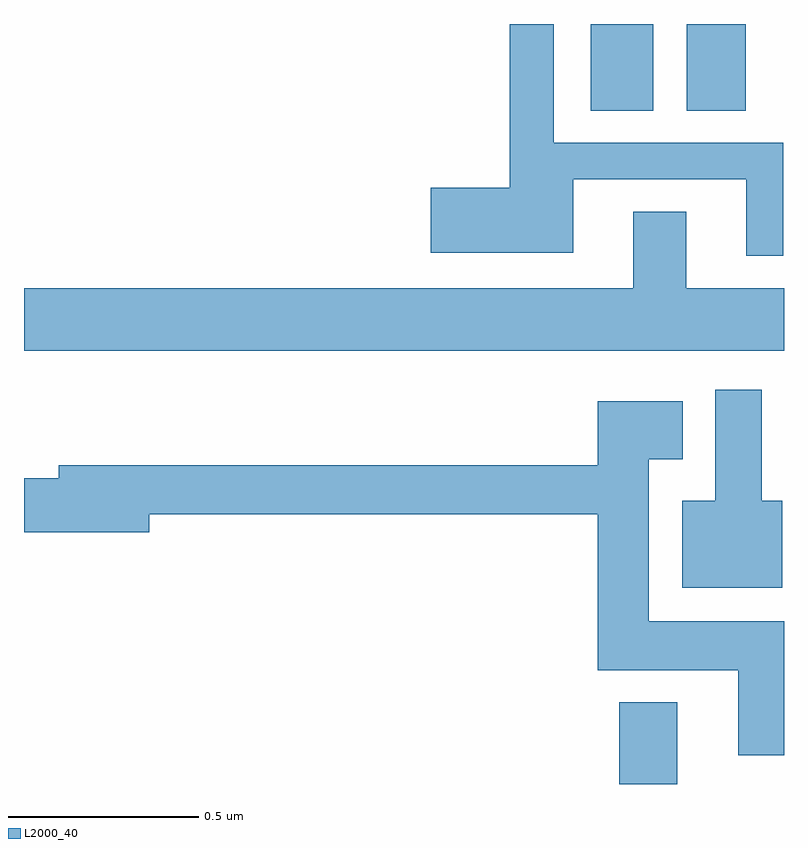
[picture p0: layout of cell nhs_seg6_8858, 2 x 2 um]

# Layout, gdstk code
import gdstk
lib = gdstk.Library(unit=1e-6, precision=1e-09)
def R(c, l, rs):  # rectangles x0, y0, x1, y1
    for r in rs: c.add(gdstk.rectangle(r[:2], r[2:], *l))
def P(c, l, *ps):  # polygons
    for p in ps: c.add(gdstk.Polygon(p, *l))
L2000_40 = (2000, 40)

nhs_seg6_8858 = lib.new_cell('nhs_seg6_8858')
R(nhs_seg6_8858, L2000_40, [(227.567,975.5,227.719,975.715), (227.492,977.272,227.656,977.5), (227.744,977.272,227.899,977.5)])
P(nhs_seg6_8858, L2000_40, [(227.998,977.187),(227.394,977.187),(227.394,977.5),(227.278,977.5),(227.278,977.069),(227.07,977.069),(227.07,976.898),(227.446,976.898),(227.446,977.091),(227.9,977.091),(227.9,976.89),(227.998,976.89)],
  [(228,976.804),(227.743,976.804),(227.743,977.006),(227.603,977.006),(227.603,976.804),(226,976.804),(226,976.64),(228,976.64)],
  [(227.995,976.246),(227.941,976.246),(227.941,976.537),(227.819,976.537),(227.819,976.246),(227.732,976.246),(227.732,976.016),(227.995,976.016)],
  [(228,975.928),(227.644,975.928),(227.644,976.355),(227.734,976.355),(227.734,976.507),(227.51,976.507),(227.51,976.339),(226.091,976.339),(226.091,976.305),(226,976.305),(226,976.163),(226.33,976.163),(226.33,976.21),(227.51,976.21),(227.51,975.8),(227.879,975.8),(227.879,975.576),(228,975.576)])

lib.write_gds('nhs_seg6_8858.gds')
